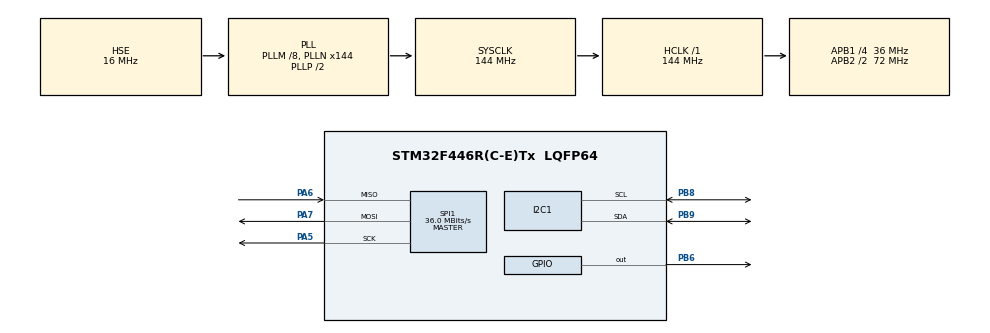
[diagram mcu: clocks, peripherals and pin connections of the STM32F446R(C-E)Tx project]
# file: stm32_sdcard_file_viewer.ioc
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FATFS._FS_RPATH=2
FATFS._USE_FIND=1
FATFS._USE_LFN=1
Mcu.Family=STM32F4
Mcu.Name=STM32F446R(C-E)Tx
Mcu.Package=LQFP64
NVIC.PriorityGroup=NVIC_PRIORITYGROUP_4
PA13.Mode=Serial_Wire
PA13.Signal=SYS_JTMS-SWDIO
PA14.Mode=Serial_Wire
PA14.Signal=SYS_JTCK-SWCLK
PA5.Mode=Full_Duplex_Master
PA5.Signal=SPI1_SCK
PA6.Mode=Full_Duplex_Master
PA6.Signal=SPI1_MISO
PA7.Mode=Full_Duplex_Master
PA7.Signal=SPI1_MOSI
PB6.Signal=GPIO_Output
PB8.Mode=I2C
PB8.Signal=I2C1_SCL
PB9.Mode=I2C
PB9.Signal=I2C1_SDA
PH0-OSC_IN.Mode=HSE-External-Oscillator
PH0-OSC_IN.Signal=RCC_OSC_IN
PH1-OSC_OUT.Mode=HSE-External-Oscillator
PH1-OSC_OUT.Signal=RCC_OSC_OUT
ProjectManager.HeapSize=0x200
ProjectManager.StackSize=0x800
ProjectManager.TargetToolchain=STM32CubeIDE
RCC.AHBFreq_Value=144000000
RCC.APB1CLKDivider=RCC_HCLK_DIV4
RCC.APB1Freq_Value=36000000
RCC.APB1TimFreq_Value=72000000
RCC.APB2CLKDivider=RCC_HCLK_DIV2
RCC.APB2Freq_Value=72000000
RCC.APB2TimFreq_Value=144000000
RCC.CortexFreq_Value=144000000
RCC.HCLKFreq_Value=144000000
RCC.HSE_VALUE=16000000
RCC.PLLM=8
RCC.PLLN=144
RCC.PLLSourceVirtual=RCC_PLLSOURCE_HSE
RCC.SYSCLKFreq_VALUE=144000000
RCC.SYSCLKSource=RCC_SYSCLKSOURCE_PLLCLK
RCC.USBFreq_Value=144000000
RCC.VCOOutputFreq_Value=288000000
SPI1.CalculateBaudRate=36.0 MBits/s
SPI1.Direction=SPI_DIRECTION_2LINES
SPI1.Mode=SPI_MODE_MASTER
SPI1.VirtualType=VM_MASTER
VP_FATFS_VS_Generic.Mode=User_defined
board=custom

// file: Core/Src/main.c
/* USER CODE BEGIN Header */
/**
  ******************************************************************************
  * @file           : main.c
  * @brief          : Main program body
  ******************************************************************************
  * @attention
  *
  * <h2><center>&copy; Copyright (c) 2021 STMicroelectronics.
  * All rights reserved.</center></h2>
  *
  * This software component is licensed by ST under Ultimate Liberty license
  * SLA0044, the "License"; You may not use this file except in compliance with
  * the License. You may obtain a copy of the License at:
  *                             www.st.com/SLA0044
  *
  ******************************************************************************
  */
/* USER CODE END Header */
#include "main.h"
#include "fatfs.h"
#include "i2c.h"
#include "spi.h"
#include "gpio.h"

/* USER CODE BEGIN Includes */
#include "nes_controller.h"
#include "file_viewer.h"
/* USER CODE END Includes */

void SystemClock_Config(void);

int main(void)
{

  /* MCU Configuration--------------------------------------------------------*/

  /* Reset of all peripherals, Initializes the Flash interface and the Systick. */
  HAL_Init();

  /* Configure the system clock */
  SystemClock_Config();

  /* Initialize all configured peripherals */
  MX_GPIO_Init();
  MX_I2C1_Init();
  MX_FATFS_Init();
  MX_SPI1_Init();
  /* USER CODE BEGIN 2 */
  FATFS fs; DIR dir; FILINFO filinfo;

  FileViewer fileViewer;
  fileViewer.fs = &fs;
  fileViewer.dir = &dir;
  fileViewer.filinfo = &filinfo;
  fileViewer.path_display_properties.TextColor = LCD_COLOR_WHITE;
  fileViewer.path_display_properties.BackColor = LCD_COLOR_BLACK;
  fileViewer.path_display_properties.pFont = &Font16;
  fileViewer.items_display_properties.TextColor = LCD_COLOR_WHITE;
  fileViewer.items_display_properties.BackColor = LCD_COLOR_BLACK;
  fileViewer.items_display_properties.pFont = &Font20;

  if(FileViewer_init(&fileViewer) == true) {
    NES_Controller_Status controller_status = nes_controller_init(&hi2c1);

    while (1) {
      if (controller_status == NES_CONTROLLER_OK) {

        HAL_Delay(20);
        uint16_t code = nes_controller_read_code(&hi2c1);

        if (nes_match_button(code, NES_BUTTON_DOWN))
          FileViewer_scroll_down(&fileViewer);
        if (nes_match_button(code, NES_BUTTON_UP))
          FileViewer_scroll_up(&fileViewer);
        if (nes_match_button(code, NES_BUTTON_RIGHT))
          FileViewer_scroll_page_right(&fileViewer);
        if (nes_match_button(code, NES_BUTTON_LEFT))
          FileViewer_scroll_page_left(&fileViewer);
        if (nes_match_button(code, NES_BUTTON_A))
          FileViewer_enter_directory(&fileViewer);
        if (nes_match_button(code, NES_BUTTON_B))
          FileViewer_leave_directory(&fileViewer);
        if (nes_match_button(code, NES_BUTTON_SELECT))
          FileViewer_unwrap_item_name(&fileViewer);
        if (nes_match_button(code, NES_BUTTON_START))
          FileViewer_refresh_screen(&fileViewer);
      }
    }
  }

  /* USER CODE END 2 */

  /* Infinite loop */
  while (1)
  {

  }
}

void SystemClock_Config(void)
{
  RCC_OscInitTypeDef RCC_OscInitStruct = {0};
  RCC_ClkInitTypeDef RCC_ClkInitStruct = {0};

  /** Configure the main internal regulator output voltage
  */
  __HAL_RCC_PWR_CLK_ENABLE();
  __HAL_PWR_VOLTAGESCALING_CONFIG(PWR_REGULATOR_VOLTAGE_SCALE1);
  /** Initializes the RCC Oscillators according to the specified parameters
  * in the RCC_OscInitTypeDef structure.
  */
  RCC_OscInitStruct.OscillatorType = RCC_OSCILLATORTYPE_HSE;
  RCC_OscInitStruct.HSEState = RCC_HSE_ON;
  RCC_OscInitStruct.PLL.PLLState = RCC_PLL_ON;
  RCC_OscInitStruct.PLL.PLLSource = RCC_PLLSOURCE_HSE;
  RCC_OscInitStruct.PLL.PLLM = 8;
  RCC_OscInitStruct.PLL.PLLN = 144;
  RCC_OscInitStruct.PLL.PLLP = RCC_PLLP_DIV2;
  RCC_OscInitStruct.PLL.PLLQ = 2;
  RCC_OscInitStruct.PLL.PLLR = 2;
  if (HAL_RCC_OscConfig(&RCC_OscInitStruct) != HAL_OK)
  {
    Error_Handler();
  }
  /** Initializes the CPU, AHB and APB buses clocks
  */
  RCC_ClkInitStruct.ClockType = RCC_CLOCKTYPE_HCLK|RCC_CLOCKTYPE_SYSCLK
                              |RCC_CLOCKTYPE_PCLK1|RCC_CLOCKTYPE_PCLK2;
  RCC_ClkInitStruct.SYSCLKSource = RCC_SYSCLKSOURCE_PLLCLK;
  RCC_ClkInitStruct.AHBCLKDivider = RCC_SYSCLK_DIV1;
  RCC_ClkInitStruct.APB1CLKDivider = RCC_HCLK_DIV4;
  RCC_ClkInitStruct.APB2CLKDivider = RCC_HCLK_DIV2;

  if (HAL_RCC_ClockConfig(&RCC_ClkInitStruct, FLASH_LATENCY_4) != HAL_OK)
  {
    Error_Handler();
  }
}

void Error_Handler(void)
{
  __disable_irq();
  while (1)
  {
  }
}

/************************ (C) COPYRIGHT STMicroelectronics *****END OF FILE****/
